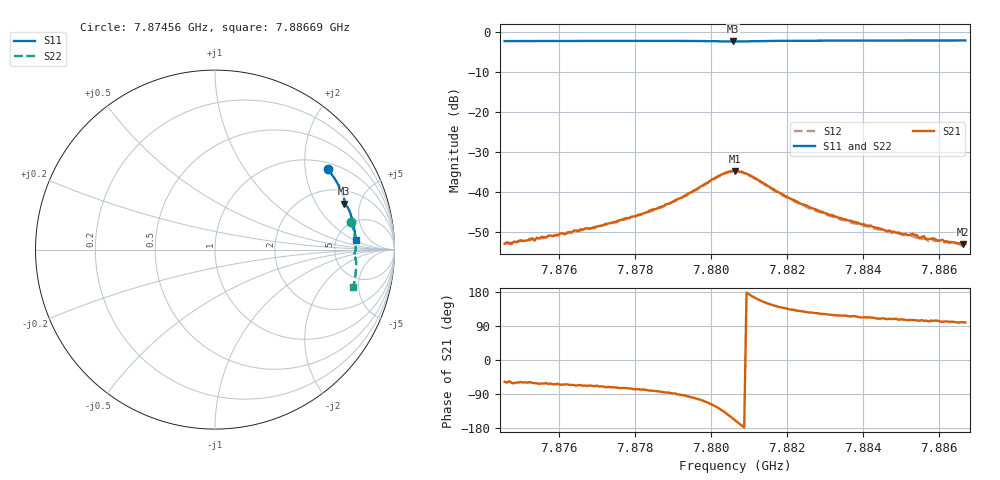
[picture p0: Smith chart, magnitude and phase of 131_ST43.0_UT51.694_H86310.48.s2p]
#  HZ  S  DB  R  50.00
! Rohde & Schwarz Vector Network Analyzer
! Rohde-Schwarz,ZNB20-2Port,1311601062101988,3.16
! Created: UTC 1/12/2023, 6:39:01 PM
! freq[Hz]  db:S11  ang:S11  db:S21  ang:S21  db:S12  ang:S12  db:S22  ang:S22
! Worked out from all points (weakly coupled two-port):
!   201 points, 7.87456 GHz to 7.88669 GHz, reference 50 ohm
!   highest |S21| = -34.67 dB at 7.88063 GHz (marker M1); lowest = -53.0 dB at 7.88663 GHz (marker M2)
!   lowest |S11| = -2.3 dB at 7.88057 GHz (marker M3), VSWR 7.46, Z = 144 + j177 ohm
!   |S11| at or under -10 dB: nowhere
!   |S22| runs from -2.3 to -2.0 dB; largest |S21 - S12| = 0.0012
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7.874563e9  -2.25 35.6  -52.84 -57.6  -52.80 -59.3  -2.21 11.5
7.875291e9  -2.23 33.6  -51.51 -60.2  -51.81 -64.5  -2.18 9.8
7.875352e9  -2.23 33.4  -52.09 -61.2  -51.81 -64.7  -2.19 9.6
7.875412e9  -2.23 33.3  -51.35 -61.5  -51.40 -66.1  -2.19 9.5
7.876625e9  -2.21 30.0  -49.40 -67.8  -49.32 -72.1  -2.15 6.6
7.877899e9  -2.19 26.5  -46.14 -75.4  -46.51 -79.0  -2.11 3.6
7.878627e9  -2.20 24.4  -43.81 -82.9  -43.94 -86.2  -2.11 1.9
7.879234e9  -2.21 22.7  -41.32 -92.7  -41.34 -96.0  -2.11 0.4
7.880204e9  -2.30 20.1  -35.90 -127.8  -36.06 -131.1  -2.21 -1.8
7.880568e9  -2.34 19.6  -34.68 -153.8  -34.90 -157.3  -2.25 -2.2
7.880629e9  -2.34 19.5  -34.67 -159.2  -34.85 -162.2  -2.26 -2.2
7.880993e9  -2.30 19.1  -35.63 173.7  -35.80 170.6  -2.21 -2.5
7.881963e9  -2.18 16.6  -41.03 136.1  -41.24 132.3  -2.07 -4.4
7.882691e9  -2.15 14.6  -44.12 124.4  -44.43 120.8  -2.03 -6.2
7.884692e9  -2.11 9.2  -49.58 108.9  -49.90 105.8  -1.99 -10.7
7.885178e9  -2.10 8.0  -50.74 105.2  -50.82 104.3  -1.98 -11.7
7.885299e9  -2.10 7.7  -50.39 105.5  -51.01 104.1  -1.98 -12.0
7.885481e9  -2.10 7.2  -51.53 103.9  -51.26 101.9  -1.97 -12.4
7.885602e9  -2.10 6.8  -50.98 103.2  -51.58 100.8  -1.98 -12.7
7.885663e9  -2.10 6.7  -51.71 103.8  -51.76 100.9  -1.98 -12.8
7.886633e9  -2.09 4.2  -52.98 99.3  -53.49 95.9  -1.96 -14.9
7.886694e9  -2.09 4.0  -52.95 99.2  -53.24 97.7  -1.96 -15.1
